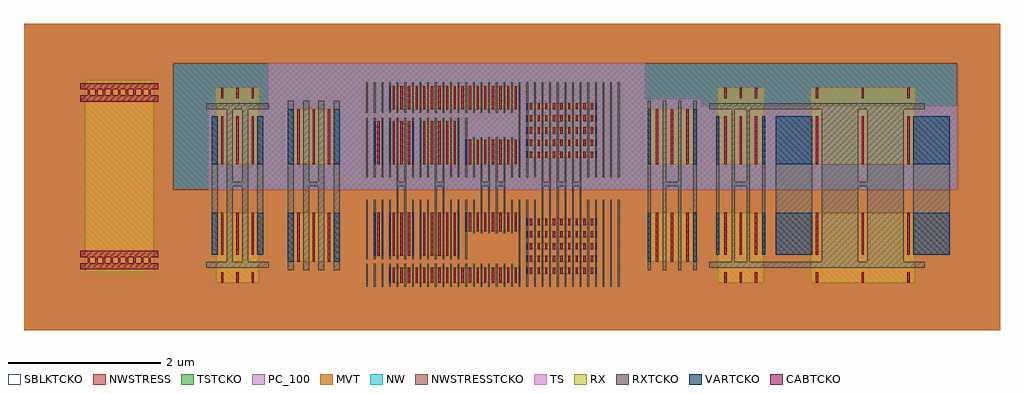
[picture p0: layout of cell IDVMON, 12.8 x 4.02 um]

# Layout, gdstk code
import gdstk
lib = gdstk.Library(unit=1e-6, precision=1e-09)
def R(c, l, rs):  # rectangles x0, y0, x1, y1
    for r in rs: c.add(gdstk.rectangle(r[:2], r[2:], *l))
def A(c, l, x, y, w, h, nx, ny, dx, dy):  # array of equal rectangles
    R(c, l, [(x+i*dx, y+j*dy, x+i*dx+w, y+j*dy+h) for i in range(nx) for j in range(ny)])
def P(c, l, *ps):  # polygons
    for p in ps: c.add(gdstk.Polygon(p, *l))
RX = (1, 0)
RXTCKO = (1, 77)
NW = (100, 0)
NWSTRESS = (100, 34)
NWSTRESSTCKO = (100, 97)
TS = (446, 0)
TSTCKO = (446, 77)
CABTCKO = (1015, 77)
SBLKTCKO = (3069, 77)
VARTCKO = (3073, 77)
MVT = (3095, 0)
PC_100 = (4617, 0)

idvmon = lib.new_cell('IDVMON')
A(idvmon, RX, 23134.2, 0.74, 0.9, 0.08, 1, 5, 0, 0.16)
A(idvmon, RX, 23134.2, 2.26, 0.9, 0.08, 1, 5, 0, 0.16)
R(idvmon, RX, [(23130.12,0.62,23130.68,1.54), (23132.4,0.62,23134.1,0.82), (23136.7,0.62,23137.3,1.54), (23137.92,0.62,23139.28,1.54), (23128.4,0.76,23129.3,3.28), (23131.12,0.9,23131.68,1.54), (23135.8,0.9,23136.4,1.54), (23132.2,0.98,23132.3,1.54), (23132.4,0.98,23132.7,1.54), (23132.8,0.98,23133.3,1.54), (23133.4,1.3,23134.1,1.54), (23130.12,2.18,23130.68,3.18), (23131.12,2.18,23131.68,2.9), (23132.2,2.18,23132.3,2.74), (23132.4,2.18,23132.7,2.74), (23132.8,2.18,23133.3,2.74), (23133.4,2.18,23134.1,2.5), (23135.8,2.18,23136.4,2.9), (23136.7,2.18,23137.3,3.18), (23137.92,2.18,23139.28,3.18), (23132.4,2.9,23134.1,3.2)])
A(idvmon, RXTCKO, 23132.09, 0.57, 0.02, 0.3, 20, 1, 0.1, 0)
A(idvmon, RXTCKO, 23134.09, 0.57, 0.02, 1.14, 3, 1, 0.1, 0)
A(idvmon, RXTCKO, 23134.99, 0.57, 0.02, 1.14, 5, 1, 0.1, 0)
A(idvmon, RXTCKO, 23132.09, 0.93, 0.02, 0.78, 4, 2, 0.1, 1.08)
A(idvmon, RXTCKO, 23132.69, 0.93, 0.02, 0.78, 3, 2, 0.1, 1.08)
A(idvmon, RXTCKO, 23133.19, 0.93, 0.02, 0.78, 3, 2, 0.1, 1.08)
A(idvmon, RXTCKO, 23134.09, 2.01, 0.02, 1.24, 3, 1, 0.1, 0)
A(idvmon, RXTCKO, 23134.99, 2.01, 0.02, 1.24, 5, 1, 0.1, 0)
A(idvmon, RXTCKO, 23132.09, 2.85, 0.02, 0.4, 20, 1, 0.1, 0)
R(idvmon, RXTCKO, [(23131.06,0.79,23131.14,3.01), (23131.66,0.79,23131.74,3.01), (23135.78,0.79,23135.82,3.01), (23136.38,0.79,23136.42,3.01), (23137.404,0.82,23137.792,0.9), (23130.06,0.99,23130.14,2.81), (23130.66,0.99,23130.74,2.81), (23136.68,0.99,23136.72,2.81), (23137.28,0.99,23137.32,2.81), (23137.46,0.99,23137.94,2.81), (23139.26,0.99,23139.74,2.81), (23133.49,1.27,23133.51,1.71), (23133.99,1.27,23134.01,1.71), (23133.49,2.01,23133.51,2.53), (23133.99,2.01,23134.01,2.53), (23137.391,2.9,23137.798,2.98)])
P(idvmon, RXTCKO, [(23134.39,0.57),(23134.39,3.25),(23134.41,3.25),(23134.41,1.95),(23134.49,1.95),(23134.49,3.25),(23134.51,3.25),(23134.51,0.57),(23134.49,0.57),(23134.49,1.89),(23134.41,1.89),(23134.41,0.57)],
  [(23134.59,0.57),(23134.59,3.25),(23134.61,3.25),(23134.61,1.95),(23134.69,1.95),(23134.69,3.25),(23134.71,3.25),(23134.71,0.57),(23134.69,0.57),(23134.69,1.89),(23134.61,1.89),(23134.61,0.57)],
  [(23134.79,0.57),(23134.79,3.25),(23134.81,3.25),(23134.81,1.95),(23134.89,1.95),(23134.89,3.25),(23134.91,3.25),(23134.91,0.57),(23134.89,0.57),(23134.89,1.89),(23134.81,1.89),(23134.81,0.57)],
  [(23131.26,0.79),(23131.26,3.01),(23131.34,3.01),(23131.34,1.95),(23131.46,1.95),(23131.46,3.01),(23131.54,3.01),(23131.54,0.79),(23131.46,0.79),(23131.46,1.89),(23131.34,1.89),(23131.34,0.79)],
  [(23133.59,1.27),(23133.59,2.53),(23133.61,2.53),(23133.61,1.95),(23133.69,1.95),(23133.69,2.53),(23133.71,2.53),(23133.71,1.27),(23133.69,1.27),(23133.69,1.89),(23133.61,1.89),(23133.61,1.27)],
  [(23133.79,1.27),(23133.79,2.53),(23133.81,2.53),(23133.81,1.95),(23133.89,1.95),(23133.89,2.53),(23133.91,2.53),(23133.91,1.27),(23133.89,1.27),(23133.89,1.89),(23133.81,1.89),(23133.81,1.27)],
  [(23136.59,0.82),(23136.59,0.9),(23136.88,0.9),(23136.88,2.9),(23136.59,2.9),(23136.59,2.98),(23137.41,2.98),(23137.41,2.9),(23136.92,2.9),(23136.92,1.95),(23137.08,1.95),(23137.08,1.89),(23136.92,1.89),(23136.92,0.9),(23137.08,0.9),(23137.08,0.82)],
  [(23130.46,0.82),(23130.46,2.9),(23130.54,2.9),(23130.54,0.9),(23130.81,0.9),(23130.81,0.82)],
  [(23129.99,0.82),(23129.99,0.9),(23130.26,0.9),(23130.26,2.9),(23129.99,2.9),(23129.99,2.98),(23130.81,2.98),(23130.81,2.9),(23130.34,2.9),(23130.34,1.95),(23130.46,1.95),(23130.46,1.89),(23130.34,1.89),(23130.34,0.9),(23130.46,0.9),(23130.46,0.82)],
  [(23138.66,0.82),(23138.66,2.98),(23139.41,2.98),(23139.41,2.9),(23139.14,2.9),(23139.14,0.9),(23139.41,0.9),(23139.41,0.82)],
  [(23137.08,0.82),(23137.08,2.9),(23137.12,2.9),(23137.12,0.9),(23137.41,0.9),(23137.41,0.82)],
  [(23132.49,0.93),(23132.49,2.79),(23132.51,2.79),(23132.51,1.95),(23132.59,1.95),(23132.59,2.79),(23132.61,2.79),(23132.61,0.93),(23132.59,0.93),(23132.59,1.89),(23132.51,1.89),(23132.51,0.93)],
  [(23132.99,0.93),(23132.99,2.79),(23133.01,2.79),(23133.01,1.95),(23133.09,1.95),(23133.09,2.79),(23133.11,2.79),(23133.11,0.93),(23133.09,0.93),(23133.09,1.89),(23133.01,1.89),(23133.01,0.93)],
  [(23135.98,0.79),(23135.98,3.01),(23136.02,3.01),(23136.02,1.95),(23136.18,1.95),(23136.18,3.01),(23136.22,3.01),(23136.22,0.79),(23136.18,0.79),(23136.18,1.89),(23136.02,1.89),(23136.02,0.79)],
  [(23137.79,0.82),(23137.79,0.9),(23138.06,0.9),(23138.06,2.9),(23137.79,2.9),(23137.79,2.98),(23138.66,2.98),(23138.66,2.9),(23138.54,2.9),(23138.54,1.95),(23138.66,1.95),(23138.66,1.89),(23138.54,1.89),(23138.54,0.9),(23138.66,0.9),(23138.66,0.82)])
R(idvmon, NW, [(23129.56,1.84,23139.84,3.503)])
A(idvmon, NWSTRESS, 23132.11, 0.57, 0.08, 0.3, 20, 1, 0.1, 0)
A(idvmon, NWSTRESS, 23134.11, 0.57, 0.08, 1.14, 3, 1, 0.1, 0)
A(idvmon, NWSTRESS, 23134.41, 0.57, 0.08, 1.32, 3, 1, 0.2, 0)
A(idvmon, NWSTRESS, 23134.91, 0.57, 0.08, 1.14, 5, 1, 0.1, 0)
A(idvmon, NWSTRESS, 23134.41, 1.95, 0.08, 1.3, 3, 1, 0.2, 0)
A(idvmon, NWSTRESS, 23132.11, 2.85, 0.08, 0.4, 20, 1, 0.1, 0)
R(idvmon, NWSTRESS, [(23131.74,0,23135.41,0.57), (23135.41,0,23135.78,1.71), (23135.78,0,23135.82,0.79), (23131.74,0.57,23132.09,0.87), (23134.51,0.57,23134.59,3.25), (23134.71,0.57,23134.79,3.25), (23130.34,0.9,23130.46,1.89), (23136.92,0.9,23137.08,1.89), (23138.54,0.9,23138.66,1.89), (23139.14,0.99,23139.26,2.81), (23135.29,1.71,23135.78,2.01), (23130.34,1.95,23130.46,2.9), (23131.34,1.95,23131.46,3.01), (23133.61,1.95,23133.69,2.53), (23136.02,1.95,23136.18,3.01), (23136.92,1.95,23137.08,2.9), (23138.54,1.95,23138.66,2.9), (23135.31,2.01,23135.39,3.25), (23135.41,2.01,23135.78,3.25), (23131.74,2.85,23132.09,3.25), (23127.6,3.01,23131.74,3.25), (23135.78,3.01,23136.42,3.25)])
P(idvmon, NWSTRESS, [(23134.91,1.71),(23134.91,3.25),(23134.99,3.25),(23134.99,2.01),(23135.01,2.01),(23135.01,3.25),(23135.09,3.25),(23135.09,2.01),(23135.11,2.01),(23135.11,3.25),(23135.19,3.25),(23135.19,2.01),(23135.21,2.01),(23135.21,3.25),(23135.29,3.25),(23135.29,1.71)],
  [(23132.61,1.71),(23132.61,2.79),(23132.69,2.79),(23132.69,2.01),(23132.71,2.01),(23132.71,2.79),(23132.79,2.79),(23132.79,2.01),(23132.81,2.01),(23132.81,2.79),(23132.89,2.79),(23132.89,2.01),(23132.91,2.01),(23132.91,2.79),(23132.99,2.79),(23132.99,1.71)],
  [(23131.74,0.87),(23131.74,1.71),(23132.09,1.71),(23132.09,0.93),(23132.11,0.93),(23132.11,1.71),(23132.19,1.71),(23132.19,0.93),(23132.21,0.93),(23132.21,1.71),(23132.29,1.71),(23132.29,0.93),(23132.31,0.93),(23132.31,1.71),(23132.39,1.71),(23132.39,0.93),(23132.41,0.93),(23132.41,1.71),(23132.49,1.71),(23132.49,0.93),(23132.51,0.93),(23132.51,1.89),(23132.59,1.89),(23132.59,0.93),(23132.61,0.93),(23132.61,1.71),(23132.69,1.71),(23132.69,0.93),(23132.71,0.93),(23132.71,1.71),(23132.79,1.71),(23132.79,0.93),(23132.81,0.93),(23132.81,1.71),(23132.89,1.71),(23132.89,0.93),(23132.91,0.93),(23132.91,1.71),(23132.99,1.71),(23132.99,0.93),(23133.01,0.93),(23133.01,1.89),(23133.09,1.89),(23133.09,0.93),(23133.11,0.93),(23133.11,1.71),(23133.19,1.71),(23133.19,0.93),(23133.21,0.93),(23133.21,1.71),(23133.29,1.71),(23133.29,0.93),(23133.31,0.93),(23133.31,1.71),(23133.39,1.71),(23133.39,0.93),(23133.41,0.93),(23133.41,1.71),(23133.49,1.71),(23133.49,1.27),(23133.51,1.27),(23133.51,1.71),(23133.59,1.71),(23133.59,1.27),(23133.61,1.27),(23133.61,1.89),(23133.69,1.89),(23133.69,1.27),(23133.71,1.27),(23133.71,2.53),(23133.79,2.53),(23133.79,1.27),(23133.81,1.27),(23133.81,1.89),(23133.89,1.89),(23133.89,1.27),(23133.91,1.27),(23133.91,1.71),(23133.99,1.71),(23133.99,1.27),(23134.01,1.27),(23134.01,1.71),(23134.09,1.71),(23134.09,0.87)],
  [(23137.12,0.9),(23137.12,2.81),(23137.28,2.81),(23137.28,0.99),(23137.32,0.99),(23137.32,2.81),(23137.46,2.81),(23137.46,0.99),(23137.94,0.99),(23137.94,2.81),(23137.12,2.81),(23137.12,2.9),(23138.06,2.9),(23138.06,0.9)],
  [(23133.91,1.71),(23133.91,2.53),(23133.99,2.53),(23133.99,2.01),(23134.01,2.01),(23134.01,2.79),(23134.09,2.79),(23134.09,2.01),(23134.11,2.01),(23134.11,3.25),(23134.19,3.25),(23134.19,2.01),(23134.21,2.01),(23134.21,3.25),(23134.29,3.25),(23134.29,2.01),(23134.31,2.01),(23134.31,3.25),(23134.39,3.25),(23134.39,1.71)],
  [(23136.42,2.81),(23136.42,3.25),(23127.6,3.25),(23127.6,4.02),(23140.4,4.02),(23140.4,2.81),(23139.14,2.81),(23139.14,2.9),(23139.41,2.9),(23139.41,2.98),(23136.59,2.98),(23136.59,2.9),(23136.88,2.9),(23136.88,2.81)],
  [(23127.6,0),(23127.6,2.81),(23130.06,2.81),(23130.06,0.99),(23130.14,0.99),(23130.14,2.81),(23130.26,2.81),(23130.26,0.9),(23129.99,0.9),(23129.99,0.82),(23130.81,0.82),(23130.81,0.9),(23130.54,0.9),(23130.54,2.81),(23130.66,2.81),(23130.66,0.99),(23130.74,0.99),(23130.74,2.81),(23131.06,2.81),(23131.06,0.79),(23131.14,0.79),(23131.14,3.01),(23131.26,3.01),(23131.26,0.79),(23131.34,0.79),(23131.34,1.89),(23131.46,1.89),(23131.46,0.79),(23131.54,0.79),(23131.54,3.01),(23131.66,3.01),(23131.66,0.79),(23131.74,0.79),(23131.74,0)],
  [(23133.11,1.71),(23133.11,2.79),(23133.19,2.79),(23133.19,2.01),(23133.21,2.01),(23133.21,2.79),(23133.29,2.79),(23133.29,2.01),(23133.31,2.01),(23133.31,2.79),(23133.39,2.79),(23133.39,2.01),(23133.41,2.01),(23133.41,2.79),(23133.49,2.79),(23133.49,2.01),(23133.51,2.01),(23133.51,2.53),(23133.59,2.53),(23133.59,1.71)],
  [(23135.82,0),(23135.82,3.01),(23135.98,3.01),(23135.98,0.79),(23136.02,0.79),(23136.02,1.89),(23136.18,1.89),(23136.18,0.79),(23136.22,0.79),(23136.22,3.01),(23136.38,3.01),(23136.38,0.79),(23136.42,0.79),(23136.42,2.81),(23136.68,2.81),(23136.68,0.99),(23136.72,0.99),(23136.72,2.81),(23136.88,2.81),(23136.88,0.9),(23136.59,0.9),(23136.59,0.82),(23139.41,0.82),(23139.41,0.9),(23139.14,0.9),(23139.14,0.99),(23139.74,0.99),(23139.74,2.81),(23140.4,2.81),(23140.4,0)],
  [(23131.74,1.71),(23131.74,2.79),(23132.09,2.79),(23132.09,2.01),(23132.11,2.01),(23132.11,2.79),(23132.19,2.79),(23132.19,2.01),(23132.21,2.01),(23132.21,2.79),(23132.29,2.79),(23132.29,2.01),(23132.31,2.01),(23132.31,2.79),(23132.39,2.79),(23132.39,2.01),(23132.41,2.01),(23132.41,2.79),(23132.49,2.79),(23132.49,1.71)],
  [(23127.6,2.81),(23127.6,3.01),(23131.06,3.01),(23131.06,2.81),(23130.54,2.81),(23130.54,2.9),(23130.81,2.9),(23130.81,2.98),(23129.99,2.98),(23129.99,2.9),(23130.26,2.9),(23130.26,2.81)],
  [(23132.51,1.95),(23132.51,2.79),(23131.74,2.79),(23131.74,2.85),(23134.09,2.85),(23134.09,2.79),(23134.01,2.79),(23134.01,2.53),(23133.89,2.53),(23133.89,1.95),(23133.81,1.95),(23133.81,2.53),(23133.49,2.53),(23133.49,2.79),(23133.09,2.79),(23133.09,1.95),(23133.01,1.95),(23133.01,2.79),(23132.59,2.79),(23132.59,1.95)])
R(idvmon, NWSTRESSTCKO, [(23129.56,1.84,23139.84,3.503)])
P(idvmon, TS, [(23130.02,1.84),(23130.02,2.94),(23130.8,2.94),(23130.8,3.503),(23135.74,3.503),(23135.74,3.031),(23136.476,3.031),(23136.476,2.94),(23139.84,2.94),(23139.84,1.84)])
R(idvmon, TSTCKO, [(23135.1,1.14,23135.8,1.46), (23135.1,2.34,23135.8,2.9)])
P(idvmon, TSTCKO, [(23130.68,2.9),(23130.68,3.18),(23129.3,3.18),(23129.3,4.02),(23139.28,4.02),(23139.28,3.18),(23136.7,3.18),(23136.7,2.9),(23135.1,2.9),(23135.1,2.98),(23134.2,2.98),(23134.2,2.9),(23134.1,2.9),(23134.1,3.2),(23132.4,3.2),(23132.4,2.9)],
  [(23127.6,0),(23127.6,4.02),(23129.3,4.02),(23129.3,3.28),(23128.4,3.28),(23128.4,0.76),(23129.3,0.76),(23129.3,0)],
  [(23133.3,1.14),(23133.3,1.54),(23129.3,1.54),(23129.3,3.18),(23130.12,3.18),(23130.12,2.18),(23130.68,2.18),(23130.68,2.9),(23131.12,2.9),(23131.12,2.18),(23131.68,2.18),(23131.68,2.74),(23132.2,2.74),(23132.2,2.18),(23132.3,2.18),(23132.3,2.74),(23132.4,2.74),(23132.4,2.18),(23132.7,2.18),(23132.7,2.74),(23132.8,2.74),(23132.8,2.18),(23133.3,2.18),(23133.3,2.5),(23133.4,2.5),(23133.4,2.18),(23134.1,2.18),(23134.1,1.54),(23133.4,1.54),(23133.4,1.3),(23134.1,1.3),(23134.1,1.14)],
  [(23135.1,0),(23135.1,1.14),(23135.8,1.14),(23135.8,0.9),(23136.4,0.9),(23136.4,1.54),(23136.7,1.54),(23136.7,0.62),(23137.3,0.62),(23137.3,1.54),(23137.92,1.54),(23137.92,0.62),(23139.28,0.62),(23139.28,4.02),(23140.4,4.02),(23140.4,0)],
  [(23134.1,0.62),(23134.1,0.82),(23132.7,0.82),(23132.7,1.54),(23132.8,1.54),(23132.8,0.98),(23133.3,0.98),(23133.3,1.14),(23134.2,1.14),(23134.2,1.06),(23135.1,1.06),(23135.1,0.98),(23134.2,0.98),(23134.2,0.9),(23135.1,0.9),(23135.1,0.82),(23134.2,0.82),(23134.2,0.74),(23135.1,0.74),(23135.1,0.62)],
  [(23134.1,2.34),(23134.1,2.5),(23133.3,2.5),(23133.3,2.74),(23131.68,2.74),(23131.68,2.9),(23135.1,2.9),(23135.1,2.82),(23134.2,2.82),(23134.2,2.74),(23135.1,2.74),(23135.1,2.66),(23134.2,2.66),(23134.2,2.58),(23135.1,2.58),(23135.1,2.5),(23134.2,2.5),(23134.2,2.42),(23135.1,2.42),(23135.1,2.34)],
  [(23134.1,1.14),(23134.1,2.34),(23134.2,2.34),(23134.2,2.26),(23135.1,2.26),(23135.1,2.34),(23135.8,2.34),(23135.8,2.18),(23136.4,2.18),(23136.4,2.9),(23136.7,2.9),(23136.7,2.18),(23137.3,2.18),(23137.3,3.18),(23137.92,3.18),(23137.92,2.18),(23139.28,2.18),(23139.28,1.54),(23135.8,1.54),(23135.8,1.46),(23134.2,1.46),(23134.2,1.38),(23135.1,1.38),(23135.1,1.3),(23134.2,1.3),(23134.2,1.22),(23135.1,1.22),(23135.1,1.14)],
  [(23129.3,0),(23129.3,1.54),(23130.12,1.54),(23130.12,0.62),(23130.68,0.62),(23130.68,1.54),(23131.12,1.54),(23131.12,0.9),(23131.68,0.9),(23131.68,1.54),(23132.2,1.54),(23132.2,0.98),(23132.3,0.98),(23132.3,1.54),(23132.4,1.54),(23132.4,0.98),(23132.7,0.98),(23132.7,0.82),(23132.4,0.82),(23132.4,0.62),(23135.1,0.62),(23135.1,0)])
A(idvmon, CABTCKO, 23130.185, 0.62, 0.03, 0.14, 3, 2, 0.2, 2.42)
A(idvmon, CABTCKO, 23132.435, 0.62, 0.03, 0.2, 17, 1, 0.1, 0)
A(idvmon, CABTCKO, 23136.785, 0.62, 0.03, 0.14, 3, 2, 0.2, 2.42)
A(idvmon, CABTCKO, 23137.985, 0.62, 0.03, 0.14, 3, 2, 0.6, 2.42)
A(idvmon, CABTCKO, 23134.235, 0.74, 0.03, 0.08, 9, 5, 0.1, 0.16)
A(idvmon, CABTCKO, 23131.185, 0.9, 0.03, 0.64, 3, 1, 0.2, 0)
A(idvmon, CABTCKO, 23135.885, 0.9, 0.03, 0.64, 3, 1, 0.2, 0)
A(idvmon, CABTCKO, 23132.435, 0.98, 0.03, 0.56, 3, 2, 0.1, 1.2)
A(idvmon, CABTCKO, 23132.835, 0.98, 0.03, 0.56, 5, 2, 0.1, 1.2)
A(idvmon, CABTCKO, 23130.185, 0.99, 0.03, 0.55, 3, 1, 0.2, 0)
A(idvmon, CABTCKO, 23136.785, 0.99, 0.03, 0.55, 3, 1, 0.2, 0)
A(idvmon, CABTCKO, 23137.985, 0.99, 0.03, 0.55, 3, 1, 0.6, 0)
A(idvmon, CABTCKO, 23133.435, 1.3, 0.03, 0.24, 7, 1, 0.1, 0)
A(idvmon, CABTCKO, 23130.185, 2.18, 0.03, 0.63, 3, 1, 0.2, 0)
A(idvmon, CABTCKO, 23131.185, 2.18, 0.03, 0.72, 3, 1, 0.2, 0)
A(idvmon, CABTCKO, 23133.435, 2.18, 0.03, 0.32, 7, 1, 0.1, 0)
A(idvmon, CABTCKO, 23135.885, 2.18, 0.03, 0.72, 3, 1, 0.2, 0)
A(idvmon, CABTCKO, 23136.785, 2.18, 0.03, 0.63, 3, 1, 0.2, 0)
A(idvmon, CABTCKO, 23137.985, 2.18, 0.03, 0.63, 3, 1, 0.6, 0)
A(idvmon, CABTCKO, 23134.235, 2.26, 0.03, 0.08, 9, 5, 0.1, 0.16)
A(idvmon, CABTCKO, 23132.435, 2.9, 0.03, 0.3, 17, 1, 0.1, 0)
R(idvmon, CABTCKO, [(23128.34,0.96,23129.36,1.04), (23132.235,0.98,23132.265,1.54), (23132.235,2.18,23132.265,2.74), (23128.34,3.16,23129.36,3.24)])
P(idvmon, CABTCKO, [(23128.34,0.8),(23128.34,0.88),(23128.435,0.88),(23128.435,0.96),(23128.465,0.96),(23128.465,0.88),(23128.535,0.88),(23128.535,0.96),(23128.565,0.96),(23128.565,0.88),(23128.635,0.88),(23128.635,0.96),(23128.665,0.96),(23128.665,0.88),(23128.735,0.88),(23128.735,0.96),(23128.765,0.96),(23128.765,0.88),(23128.835,0.88),(23128.835,0.96),(23128.865,0.96),(23128.865,0.88),(23128.935,0.88),(23128.935,0.96),(23128.965,0.96),(23128.965,0.88),(23129.035,0.88),(23129.035,0.96),(23129.065,0.96),(23129.065,0.88),(23129.135,0.88),(23129.135,0.96),(23129.165,0.96),(23129.165,0.88),(23129.235,0.88),(23129.235,0.96),(23129.265,0.96),(23129.265,0.88),(23129.36,0.88),(23129.36,0.8)],
  [(23128.34,3),(23128.34,3.08),(23128.435,3.08),(23128.435,3.16),(23128.465,3.16),(23128.465,3.08),(23128.535,3.08),(23128.535,3.16),(23128.565,3.16),(23128.565,3.08),(23128.635,3.08),(23128.635,3.16),(23128.665,3.16),(23128.665,3.08),(23128.735,3.08),(23128.735,3.16),(23128.765,3.16),(23128.765,3.08),(23128.835,3.08),(23128.835,3.16),(23128.865,3.16),(23128.865,3.08),(23128.935,3.08),(23128.935,3.16),(23128.965,3.16),(23128.965,3.08),(23129.035,3.08),(23129.035,3.16),(23129.065,3.16),(23129.065,3.08),(23129.135,3.08),(23129.135,3.16),(23129.165,3.16),(23129.165,3.08),(23129.235,3.08),(23129.235,3.16),(23129.265,3.16),(23129.265,3.08),(23129.36,3.08),(23129.36,3)])
R(idvmon, SBLKTCKO, [(23127.6,0,23140.4,4.02)])
A(idvmon, VARTCKO, 23134.19, 0.74, 0.02, 0.08, 1, 5, 0, 0.16)
A(idvmon, VARTCKO, 23135.09, 0.74, 0.02, 0.08, 1, 5, 0, 0.16)
A(idvmon, VARTCKO, 23132.19, 0.98, 0.02, 0.56, 3, 2, 0.1, 1.2)
A(idvmon, VARTCKO, 23134.19, 2.26, 0.02, 0.08, 1, 5, 0, 0.16)
A(idvmon, VARTCKO, 23135.09, 2.26, 0.02, 0.08, 1, 5, 0, 0.16)
R(idvmon, VARTCKO, [(23132.39,0.62,23132.41,0.82), (23134.09,0.62,23134.11,0.82), (23131.06,0.9,23131.14,1.54), (23131.66,0.9,23131.74,1.54), (23135.78,0.9,23135.82,1.54), (23136.38,0.9,23136.42,1.54), (23132.69,0.98,23132.71,1.54), (23132.79,0.98,23132.81,1.54), (23133.29,0.98,23133.31,1.54), (23130.06,0.99,23130.14,1.54), (23130.66,0.99,23130.74,1.54), (23136.68,0.99,23136.72,1.54), (23137.28,0.99,23137.32,1.54), (23137.46,0.99,23137.94,1.54), (23139.26,0.99,23139.74,1.54), (23133.39,1.3,23133.41,1.54), (23134.09,1.3,23134.11,1.54), (23130.06,2.18,23130.14,2.81), (23130.66,2.18,23130.74,2.81), (23131.06,2.18,23131.14,2.9), (23131.66,2.18,23131.74,2.9), (23132.69,2.18,23132.71,2.74), (23132.79,2.18,23132.81,2.74), (23133.29,2.18,23133.31,2.74), (23133.39,2.18,23133.41,2.5), (23134.09,2.18,23134.11,2.5), (23135.78,2.18,23135.82,2.9), (23136.38,2.18,23136.42,2.9), (23136.68,2.18,23136.72,2.81), (23137.28,2.18,23137.32,2.81), (23137.46,2.18,23137.94,2.81), (23139.26,2.18,23139.74,2.81), (23132.39,2.9,23132.41,3.2), (23134.09,2.9,23134.11,3.2)])
P(idvmon, MVT, [(23127.6,0),(23127.6,3.503),(23129.56,3.503),(23129.56,1.84),(23139.84,1.84),(23139.84,3.503),(23127.6,3.503),(23127.6,4.02),(23140.4,4.02),(23140.4,0)])
P(idvmon, PC_100, [(23127.6,0),(23127.6,3.503),(23130.8,3.503),(23130.8,2.94),(23130.02,2.94),(23130.02,1.84),(23139.84,1.84),(23139.84,2.94),(23136.476,2.94),(23136.476,3.031),(23135.74,3.031),(23135.74,3.503),(23127.6,3.503),(23127.6,4.02),(23140.4,4.02),(23140.4,0)])

lib.write_gds('IDVMON.gds')
